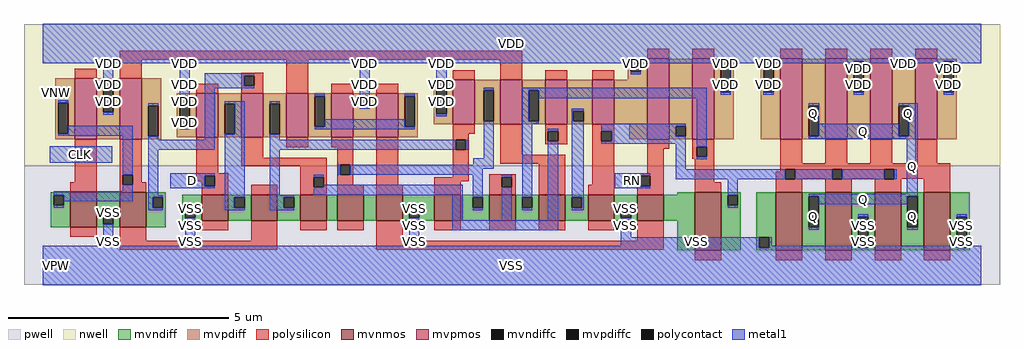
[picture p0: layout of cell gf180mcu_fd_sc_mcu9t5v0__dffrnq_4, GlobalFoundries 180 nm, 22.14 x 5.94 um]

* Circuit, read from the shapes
.subckt gf180mcu_fd_sc_mcu9t5v0__dffrnq_4 D RN CLK Q VDD VNW VPW VSS
XM1 VSS CLK n1 VPW nfet_06v0 w=0.79u l=0.6u
XM2 n2 n1 VSS VPW nfet_06v0 w=0.79u l=0.6u
XM3 n3 D VSS VPW nfet_06v0 w=0.59u l=0.6u
XM4 n4 n1 n3 VPW nfet_06v0 w=0.59u l=0.6u
XM5 n5 n2 n4 VPW nfet_06v0 w=0.59u l=0.6u
XM6 n6 n7 n5 VPW nfet_06v0 w=0.59u l=0.6u
XM7 VSS RN n6 VPW nfet_06v0 w=0.59u l=0.6u
XM8 n7 n4 VSS VPW nfet_06v0 w=0.59u l=0.6u
XM9 n8 n2 n7 VPW nfet_06v0 w=0.59u l=0.6u
XM10 n9 n1 n8 VPW nfet_06v0 w=0.59u l=0.6u
XM11 VSS n10 n9 VPW nfet_06v0 w=0.59u l=0.6u
XM12 n11 RN VSS VPW nfet_06v0 w=0.59u l=0.6u
XM13 n10 n8 n11 VPW nfet_06v0 w=1.32u l=0.6u
XM14 Q n10 VSS VPW nfet_06v0 w=1.32u l=0.6u m=4
XM15 VDD CLK n1 VNW pfet_06v0 w=1.38u l=0.5u
XM16 n2 n1 VDD VNW pfet_06v0 w=1.38u l=0.5u
XM17 n3 D VDD VNW pfet_06v0 w=1u l=0.5u
XM18 n4 n2 n3 VNW pfet_06v0 w=1u l=0.5u
XM19 n12 n1 n4 VNW pfet_06v0 w=1u l=0.5u
XM20 VDD n7 n12 VNW pfet_06v0 w=1u l=0.5u
XM21 n12 RN VDD VNW pfet_06v0 w=1u l=0.5u
XM22 n7 n4 VDD VNW pfet_06v0 w=1u l=0.5u
XM23 n8 n1 n7 VNW pfet_06v0 w=1u l=0.5u
XM24 n9 n2 n8 VNW pfet_06v0 w=1u l=0.5u
XM25 VDD n10 n9 VNW pfet_06v0 w=1u l=0.5u
XM26 n10 RN VDD VNW pfet_06v0 w=1.83u l=0.5u
XM27 VDD n8 n10 VNW pfet_06v0 w=1.83u l=0.5u
XM28 Q n10 VDD VNW pfet_06v0 w=1.83u l=0.5u m=4
.ends

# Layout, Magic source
magic
tech gf180mcuD
magscale 1 10
<< nwell >>
rect -86 453 4342 1094
<< pwell >>
rect -86 -86 4342 453
<< mvnmos >>
rect 124 175 244 333
rect 348 175 468 333
rect 720 204 840 322
rect 944 204 1064 322
rect 1168 204 1288 322
rect 1336 204 1456 322
rect 1512 204 1632 322
rect 1776 204 1896 322
rect 2025 204 2145 322
rect 2249 204 2369 322
rect 2473 204 2593 322
rect 2697 204 2817 322
rect 2957 69 3077 333
rect 3325 69 3445 333
rect 3549 69 3669 333
rect 3773 69 3893 333
rect 3997 69 4117 333
<< mvpmos >>
rect 144 573 244 849
rect 348 573 448 849
rect 696 582 796 782
rect 900 582 1000 782
rect 1104 582 1204 782
rect 1308 582 1408 782
rect 1512 582 1612 782
rect 1860 642 1960 842
rect 2074 642 2174 842
rect 2278 642 2378 842
rect 2493 642 2593 842
rect 2741 573 2841 939
rect 2945 573 3045 939
rect 3345 573 3445 939
rect 3549 573 3649 939
rect 3753 573 3853 939
rect 3957 573 4057 939
<< mvndiff >>
rect 36 320 124 333
rect 36 274 49 320
rect 95 274 124 320
rect 36 175 124 274
rect 244 234 348 333
rect 244 188 273 234
rect 319 188 348 234
rect 244 175 348 188
rect 468 309 556 333
rect 2877 322 2957 333
rect 468 263 497 309
rect 543 263 556 309
rect 468 175 556 263
rect 632 263 720 322
rect 632 217 645 263
rect 691 217 720 263
rect 632 204 720 217
rect 840 309 944 322
rect 840 263 869 309
rect 915 263 944 309
rect 840 204 944 263
rect 1064 309 1168 322
rect 1064 263 1093 309
rect 1139 263 1168 309
rect 1064 204 1168 263
rect 1288 204 1336 322
rect 1456 204 1512 322
rect 1632 263 1776 322
rect 1632 217 1661 263
rect 1707 217 1776 263
rect 1632 204 1776 217
rect 1896 309 2025 322
rect 1896 263 1950 309
rect 1996 263 2025 309
rect 1896 204 2025 263
rect 2145 309 2249 322
rect 2145 263 2174 309
rect 2220 263 2249 309
rect 2145 204 2249 263
rect 2369 309 2473 322
rect 2369 263 2398 309
rect 2444 263 2473 309
rect 2369 204 2473 263
rect 2593 263 2697 322
rect 2593 217 2622 263
rect 2668 217 2697 263
rect 2593 204 2697 217
rect 2817 204 2957 322
rect 2877 69 2957 204
rect 3077 320 3165 333
rect 3077 274 3106 320
rect 3152 274 3165 320
rect 3077 69 3165 274
rect 3237 128 3325 333
rect 3237 82 3250 128
rect 3296 82 3325 128
rect 3237 69 3325 82
rect 3445 314 3549 333
rect 3445 174 3474 314
rect 3520 174 3549 314
rect 3445 69 3549 174
rect 3669 222 3773 333
rect 3669 82 3698 222
rect 3744 82 3773 222
rect 3669 69 3773 82
rect 3893 314 3997 333
rect 3893 174 3922 314
rect 3968 174 3997 314
rect 3893 69 3997 174
rect 4117 222 4205 333
rect 4117 82 4146 222
rect 4192 82 4205 222
rect 4117 69 4205 82
<< mvpdiff >>
rect 56 739 144 849
rect 56 599 69 739
rect 115 599 144 739
rect 56 573 144 599
rect 244 836 348 849
rect 244 696 273 836
rect 319 696 348 836
rect 244 573 348 696
rect 448 726 536 849
rect 2653 926 2741 939
rect 2653 880 2666 926
rect 2712 880 2741 926
rect 2653 842 2741 880
rect 1772 829 1860 842
rect 448 586 477 726
rect 523 586 536 726
rect 448 573 536 586
rect 608 769 696 782
rect 608 629 621 769
rect 667 629 696 769
rect 608 582 696 629
rect 796 735 900 782
rect 796 595 825 735
rect 871 595 900 735
rect 796 582 900 595
rect 1000 735 1104 782
rect 1000 595 1029 735
rect 1075 595 1104 735
rect 1000 582 1104 595
rect 1204 769 1308 782
rect 1204 629 1233 769
rect 1279 629 1308 769
rect 1204 582 1308 629
rect 1408 769 1512 782
rect 1408 723 1437 769
rect 1483 723 1512 769
rect 1408 582 1512 723
rect 1612 769 1700 782
rect 1612 629 1641 769
rect 1687 629 1700 769
rect 1772 689 1785 829
rect 1831 689 1860 829
rect 1772 642 1860 689
rect 1960 795 2074 842
rect 1960 655 1999 795
rect 2045 655 2074 795
rect 1960 642 2074 655
rect 2174 795 2278 842
rect 2174 655 2203 795
rect 2249 655 2278 795
rect 2174 642 2278 655
rect 2378 701 2493 842
rect 2378 655 2407 701
rect 2453 655 2493 701
rect 2378 642 2493 655
rect 2593 642 2741 842
rect 1612 582 1700 629
rect 2661 573 2741 642
rect 2841 632 2945 939
rect 2841 586 2870 632
rect 2916 586 2945 632
rect 2841 573 2945 586
rect 3045 926 3133 939
rect 3045 786 3074 926
rect 3120 786 3133 926
rect 3045 573 3133 786
rect 3257 926 3345 939
rect 3257 786 3270 926
rect 3316 786 3345 926
rect 3257 573 3345 786
rect 3445 726 3549 939
rect 3445 586 3474 726
rect 3520 586 3549 726
rect 3445 573 3549 586
rect 3649 926 3753 939
rect 3649 786 3678 926
rect 3724 786 3753 926
rect 3649 573 3753 786
rect 3853 726 3957 939
rect 3853 586 3882 726
rect 3928 586 3957 726
rect 3853 573 3957 586
rect 4057 926 4145 939
rect 4057 786 4086 926
rect 4132 786 4145 926
rect 4057 573 4145 786
<< mvndiffc >>
rect 49 274 95 320
rect 273 188 319 234
rect 497 263 543 309
rect 645 217 691 263
rect 869 263 915 309
rect 1093 263 1139 309
rect 1661 217 1707 263
rect 1950 263 1996 309
rect 2174 263 2220 309
rect 2398 263 2444 309
rect 2622 217 2668 263
rect 3106 274 3152 320
rect 3250 82 3296 128
rect 3474 174 3520 314
rect 3698 82 3744 222
rect 3922 174 3968 314
rect 4146 82 4192 222
<< mvpdiffc >>
rect 69 599 115 739
rect 273 696 319 836
rect 2666 880 2712 926
rect 477 586 523 726
rect 621 629 667 769
rect 825 595 871 735
rect 1029 595 1075 735
rect 1233 629 1279 769
rect 1437 723 1483 769
rect 1641 629 1687 769
rect 1785 689 1831 829
rect 1999 655 2045 795
rect 2203 655 2249 795
rect 2407 655 2453 701
rect 2870 586 2916 632
rect 3074 786 3120 926
rect 3270 786 3316 926
rect 3474 586 3520 726
rect 3678 786 3724 926
rect 3882 586 3928 726
rect 4086 786 4132 926
<< polysilicon >>
rect 348 934 2174 974
rect 2741 939 2841 983
rect 2945 939 3045 983
rect 3345 939 3445 983
rect 3549 939 3649 983
rect 3753 939 3853 983
rect 3957 939 4057 983
rect 144 849 244 893
rect 348 849 448 934
rect 900 861 1000 874
rect 696 782 796 826
rect 900 815 913 861
rect 959 815 1000 861
rect 900 782 1000 815
rect 1104 782 1204 934
rect 1860 842 1960 886
rect 2074 842 2174 934
rect 2278 842 2378 886
rect 2493 842 2593 886
rect 1308 782 1408 826
rect 1512 782 1612 826
rect 1860 598 1960 642
rect 144 523 244 573
rect 144 477 157 523
rect 203 477 244 523
rect 144 377 244 477
rect 124 333 244 377
rect 348 412 448 573
rect 348 366 361 412
rect 407 377 448 412
rect 696 420 796 582
rect 900 490 1000 582
rect 1104 538 1204 582
rect 1308 538 1408 582
rect 900 450 1288 490
rect 696 407 840 420
rect 696 382 733 407
rect 407 366 468 377
rect 348 333 468 366
rect 720 361 733 382
rect 779 361 840 407
rect 1168 401 1288 450
rect 720 322 840 361
rect 944 322 1064 366
rect 1168 355 1229 401
rect 1275 355 1288 401
rect 1168 322 1288 355
rect 1336 458 1408 538
rect 1336 412 1349 458
rect 1395 412 1408 458
rect 1336 366 1408 412
rect 1512 366 1612 582
rect 1860 572 1932 598
rect 1860 526 1873 572
rect 1919 526 1932 572
rect 1860 400 1932 526
rect 2074 502 2174 642
rect 2278 609 2378 642
rect 2278 563 2291 609
rect 2337 563 2378 609
rect 2278 550 2378 563
rect 2493 609 2593 642
rect 2493 563 2534 609
rect 2580 563 2593 609
rect 2074 462 2369 502
rect 1776 382 1932 400
rect 2025 401 2145 414
rect 1336 322 1456 366
rect 1512 322 1632 366
rect 1776 322 1896 382
rect 2025 355 2082 401
rect 2128 355 2145 401
rect 2025 322 2145 355
rect 2249 322 2369 462
rect 2493 366 2593 563
rect 2741 529 2841 573
rect 2945 540 3045 573
rect 2741 420 2817 529
rect 2945 494 2966 540
rect 3012 494 3045 540
rect 2945 485 3045 494
rect 2473 322 2593 366
rect 2697 407 2817 420
rect 2697 361 2710 407
rect 2756 361 2817 407
rect 2697 322 2817 361
rect 2957 377 3045 485
rect 3345 465 3445 573
rect 3549 465 3649 573
rect 3753 465 3853 573
rect 3957 465 4057 573
rect 3345 437 4117 465
rect 3345 425 3368 437
rect 3325 391 3368 425
rect 3414 393 3581 437
rect 3414 391 3445 393
rect 2957 333 3077 377
rect 3325 333 3445 391
rect 3549 391 3581 393
rect 3627 393 3816 437
rect 3627 391 3669 393
rect 3549 333 3669 391
rect 3773 391 3816 393
rect 3862 394 4117 437
rect 3862 391 3893 394
rect 3773 333 3893 391
rect 3997 333 4117 394
rect 124 131 244 175
rect 348 112 468 175
rect 720 160 840 204
rect 944 112 1064 204
rect 1168 160 1288 204
rect 1336 160 1456 204
rect 348 72 1064 112
rect 1512 112 1632 204
rect 1776 160 1896 204
rect 2025 160 2145 204
rect 2249 160 2369 204
rect 2473 160 2593 204
rect 2697 112 2817 204
rect 1512 72 2817 112
rect 2957 25 3077 69
rect 3325 25 3445 69
rect 3549 25 3669 69
rect 3773 25 3893 69
rect 3997 25 4117 69
<< polycontact >>
rect 913 815 959 861
rect 157 477 203 523
rect 361 366 407 412
rect 733 361 779 407
rect 1229 355 1275 401
rect 1349 412 1395 458
rect 1873 526 1919 572
rect 2291 563 2337 609
rect 2534 563 2580 609
rect 2082 355 2128 401
rect 2966 494 3012 540
rect 2710 361 2756 407
rect 3368 391 3414 437
rect 3581 391 3627 437
rect 3816 391 3862 437
<< metal1 >>
rect 0 926 4256 1098
rect 0 918 2666 926
rect 273 836 319 918
rect 69 739 115 750
rect 621 769 667 918
rect 273 685 319 696
rect 477 726 523 737
rect 115 599 407 634
rect 69 588 407 599
rect 30 523 314 542
rect 30 477 157 523
rect 203 477 314 523
rect 30 466 314 477
rect 361 412 407 588
rect 361 337 407 366
rect 49 320 407 337
rect 95 291 407 320
rect 621 618 667 629
rect 733 861 959 872
rect 733 815 913 861
rect 733 804 959 815
rect 477 572 523 586
rect 733 572 779 804
rect 1233 769 1279 780
rect 477 526 779 572
rect 825 735 915 746
rect 871 595 915 735
rect 477 320 523 526
rect 578 407 779 418
rect 578 361 733 407
rect 578 350 779 361
rect 477 309 543 320
rect 49 263 95 274
rect 477 263 497 309
rect 825 309 915 595
rect 477 252 543 263
rect 645 263 691 274
rect 273 234 319 245
rect 273 90 319 188
rect 825 263 869 309
rect 825 252 915 263
rect 1029 735 1075 746
rect 1437 769 1483 918
rect 1785 829 1831 918
rect 2712 918 3074 926
rect 2666 869 2712 880
rect 1437 712 1483 723
rect 1641 769 1687 780
rect 1279 629 1641 664
rect 1785 678 1831 689
rect 1999 795 2045 806
rect 1233 618 1687 629
rect 1029 572 1075 595
rect 1029 526 1873 572
rect 1919 526 1930 572
rect 1029 320 1075 526
rect 1999 486 2045 655
rect 1953 458 2045 486
rect 1338 412 1349 458
rect 1395 440 2045 458
rect 2174 795 3012 806
rect 2174 655 2203 795
rect 2249 760 3012 795
rect 3120 918 3270 926
rect 3120 786 3121 918
rect 3074 775 3121 786
rect 3269 786 3270 918
rect 3316 918 3678 926
rect 3269 775 3316 786
rect 3724 917 4086 926
rect 3678 775 3724 786
rect 4132 918 4256 926
rect 4086 775 4132 786
rect 2174 644 2249 655
rect 2398 701 2453 712
rect 2398 655 2407 701
rect 1395 412 1996 440
rect 1229 401 1275 412
rect 1275 355 1904 366
rect 1229 320 1904 355
rect 1029 309 1139 320
rect 1029 263 1093 309
rect 1029 252 1139 263
rect 1661 263 1707 274
rect 645 90 691 217
rect 1661 90 1707 217
rect 1858 206 1904 320
rect 1950 309 1996 412
rect 1950 252 1996 263
rect 2082 401 2128 412
rect 2082 206 2128 355
rect 2174 309 2220 644
rect 2174 252 2220 263
rect 2291 609 2337 620
rect 2291 206 2337 563
rect 2398 309 2453 655
rect 2534 632 2916 643
rect 2534 609 2870 632
rect 2580 586 2870 609
rect 2580 563 2916 586
rect 2534 552 2916 563
rect 2870 437 2916 552
rect 2966 540 3012 760
rect 3474 726 3521 737
rect 3520 643 3521 726
rect 3882 726 3968 737
rect 3520 586 3882 643
rect 3928 586 3968 726
rect 3474 575 3968 586
rect 2966 483 3012 494
rect 2594 407 2756 418
rect 2594 361 2710 407
rect 2870 391 3368 437
rect 3414 391 3581 437
rect 3627 391 3816 437
rect 3862 391 3873 437
rect 2594 350 2756 361
rect 2444 263 2453 309
rect 3106 320 3152 391
rect 3919 325 3968 575
rect 2398 252 2453 263
rect 2622 263 2668 274
rect 3106 263 3152 274
rect 3474 314 3968 325
rect 1858 160 2337 206
rect 2622 128 2668 217
rect 3520 279 3922 314
rect 3474 163 3520 174
rect 3698 222 3744 233
rect 2622 90 3250 128
rect 0 82 3250 90
rect 3296 90 3307 128
rect 3296 82 3698 90
rect 3922 163 3968 174
rect 4146 222 4192 233
rect 3744 82 4146 90
rect 4192 82 4256 90
rect 0 -90 4256 82
<< labels >>
flabel metal1 s 30 466 314 542 0 FreeSans 200 0 0 0 CLK
port 3 nsew clock input
flabel metal1 s 578 350 779 418 0 FreeSans 200 0 0 0 D
port 1 nsew default input
flabel metal1 s 3882 643 3968 737 0 FreeSans 200 0 0 0 Q
port 4 nsew default output
flabel metal1 s 2594 350 2756 418 0 FreeSans 200 0 0 0 RN
port 2 nsew default input
flabel metal1 s 0 918 4256 1098 0 FreeSans 200 0 0 0 VDD
port 5 nsew power bidirectional abutment
flabel metal1 s 2622 245 2668 274 0 FreeSans 200 0 0 0 VSS
port 8 nsew ground bidirectional abutment
flabel nwell s 10 734 110 834 0 FreeSans 400 0 0 0 VNW
port 6 nsew power bidirectional
flabel pwell s 10 -50 110 50 0 FreeSans 400 0 0 0 VPW
port 7 nsew ground bidirectional
rlabel metal1 s 3474 643 3521 737 1 Q
port 4 nsew default output
rlabel metal1 s 3474 575 3968 643 1 Q
port 4 nsew default output
rlabel metal1 s 3919 325 3968 575 1 Q
port 4 nsew default output
rlabel metal1 s 3474 279 3968 325 1 Q
port 4 nsew default output
rlabel metal1 s 3922 163 3968 279 1 Q
port 4 nsew default output
rlabel metal1 s 3474 163 3520 279 1 Q
port 4 nsew default output
rlabel metal1 s 3678 917 4132 918 1 VDD
port 5 nsew power bidirectional abutment
rlabel metal1 s 3269 917 3316 918 1 VDD
port 5 nsew power bidirectional abutment
rlabel metal1 s 3074 917 3121 918 1 VDD
port 5 nsew power bidirectional abutment
rlabel metal1 s 2666 917 2712 918 1 VDD
port 5 nsew power bidirectional abutment
rlabel metal1 s 1785 917 1831 918 1 VDD
port 5 nsew power bidirectional abutment
rlabel metal1 s 1437 917 1483 918 1 VDD
port 5 nsew power bidirectional abutment
rlabel metal1 s 621 917 667 918 1 VDD
port 5 nsew power bidirectional abutment
rlabel metal1 s 273 917 319 918 1 VDD
port 5 nsew power bidirectional abutment
rlabel metal1 s 4086 869 4132 917 1 VDD
port 5 nsew power bidirectional abutment
rlabel metal1 s 3678 869 3724 917 1 VDD
port 5 nsew power bidirectional abutment
rlabel metal1 s 3269 869 3316 917 1 VDD
port 5 nsew power bidirectional abutment
rlabel metal1 s 3074 869 3121 917 1 VDD
port 5 nsew power bidirectional abutment
rlabel metal1 s 2666 869 2712 917 1 VDD
port 5 nsew power bidirectional abutment
rlabel metal1 s 1785 869 1831 917 1 VDD
port 5 nsew power bidirectional abutment
rlabel metal1 s 1437 869 1483 917 1 VDD
port 5 nsew power bidirectional abutment
rlabel metal1 s 621 869 667 917 1 VDD
port 5 nsew power bidirectional abutment
rlabel metal1 s 273 869 319 917 1 VDD
port 5 nsew power bidirectional abutment
rlabel metal1 s 4086 775 4132 869 1 VDD
port 5 nsew power bidirectional abutment
rlabel metal1 s 3678 775 3724 869 1 VDD
port 5 nsew power bidirectional abutment
rlabel metal1 s 3269 775 3316 869 1 VDD
port 5 nsew power bidirectional abutment
rlabel metal1 s 3074 775 3121 869 1 VDD
port 5 nsew power bidirectional abutment
rlabel metal1 s 1785 775 1831 869 1 VDD
port 5 nsew power bidirectional abutment
rlabel metal1 s 1437 775 1483 869 1 VDD
port 5 nsew power bidirectional abutment
rlabel metal1 s 621 775 667 869 1 VDD
port 5 nsew power bidirectional abutment
rlabel metal1 s 273 775 319 869 1 VDD
port 5 nsew power bidirectional abutment
rlabel metal1 s 1785 712 1831 775 1 VDD
port 5 nsew power bidirectional abutment
rlabel metal1 s 1437 712 1483 775 1 VDD
port 5 nsew power bidirectional abutment
rlabel metal1 s 621 712 667 775 1 VDD
port 5 nsew power bidirectional abutment
rlabel metal1 s 273 712 319 775 1 VDD
port 5 nsew power bidirectional abutment
rlabel metal1 s 1785 685 1831 712 1 VDD
port 5 nsew power bidirectional abutment
rlabel metal1 s 621 685 667 712 1 VDD
port 5 nsew power bidirectional abutment
rlabel metal1 s 273 685 319 712 1 VDD
port 5 nsew power bidirectional abutment
rlabel metal1 s 1785 678 1831 685 1 VDD
port 5 nsew power bidirectional abutment
rlabel metal1 s 621 678 667 685 1 VDD
port 5 nsew power bidirectional abutment
rlabel metal1 s 621 618 667 678 1 VDD
port 5 nsew power bidirectional abutment
rlabel metal1 s 1661 245 1707 274 1 VSS
port 8 nsew ground bidirectional abutment
rlabel metal1 s 645 245 691 274 1 VSS
port 8 nsew ground bidirectional abutment
rlabel metal1 s 2622 233 2668 245 1 VSS
port 8 nsew ground bidirectional abutment
rlabel metal1 s 1661 233 1707 245 1 VSS
port 8 nsew ground bidirectional abutment
rlabel metal1 s 645 233 691 245 1 VSS
port 8 nsew ground bidirectional abutment
rlabel metal1 s 273 233 319 245 1 VSS
port 8 nsew ground bidirectional abutment
rlabel metal1 s 4146 128 4192 233 1 VSS
port 8 nsew ground bidirectional abutment
rlabel metal1 s 3698 128 3744 233 1 VSS
port 8 nsew ground bidirectional abutment
rlabel metal1 s 2622 128 2668 233 1 VSS
port 8 nsew ground bidirectional abutment
rlabel metal1 s 1661 128 1707 233 1 VSS
port 8 nsew ground bidirectional abutment
rlabel metal1 s 645 128 691 233 1 VSS
port 8 nsew ground bidirectional abutment
rlabel metal1 s 273 128 319 233 1 VSS
port 8 nsew ground bidirectional abutment
rlabel metal1 s 4146 90 4192 128 1 VSS
port 8 nsew ground bidirectional abutment
rlabel metal1 s 3698 90 3744 128 1 VSS
port 8 nsew ground bidirectional abutment
rlabel metal1 s 2622 90 3307 128 1 VSS
port 8 nsew ground bidirectional abutment
rlabel metal1 s 1661 90 1707 128 1 VSS
port 8 nsew ground bidirectional abutment
rlabel metal1 s 645 90 691 128 1 VSS
port 8 nsew ground bidirectional abutment
rlabel metal1 s 273 90 319 128 1 VSS
port 8 nsew ground bidirectional abutment
rlabel metal1 s 0 -90 4256 90 1 VSS
port 8 nsew ground bidirectional abutment
<< properties >>
string FIXED_BBOX 0 0 4256 1008
string GDS_END 633048
string GDS_FILE $PDKPATH/libs.ref/gf180mcu_fd_sc_mcu9t5v0/gds/gf180mcu_fd_sc_mcu9t5v0.gds
string GDS_START 622980
string LEFclass core
string LEFsite GF018hv5v_green_sc9
string LEFsymmetry X Y
<< end >>
